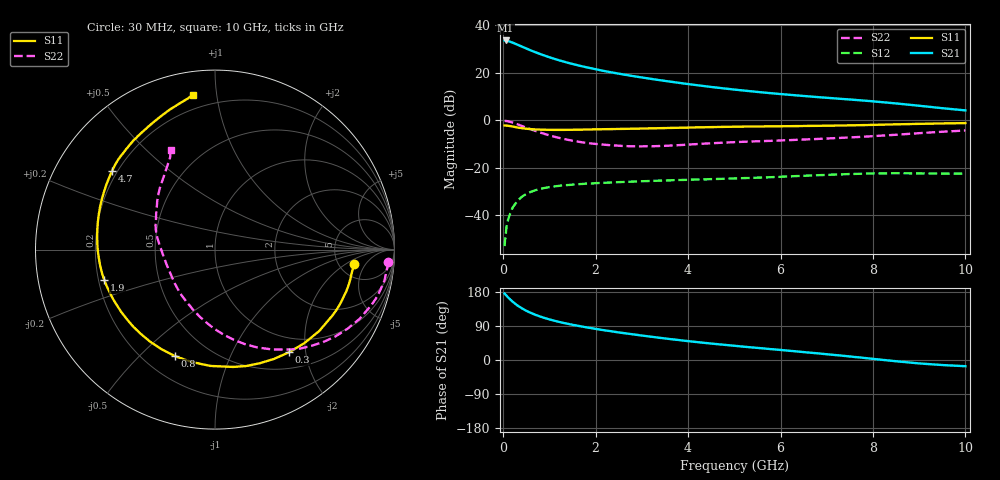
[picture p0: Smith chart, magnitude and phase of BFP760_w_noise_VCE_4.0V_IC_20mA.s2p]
! Infineon Technologies  Discrete & RF Semiconductors
! BFP760
! VCE =  4.0 V,  IC =  20 mA
! Common Emitter S-Parameters:  Nov 2012
# GHz  S  MA  R  50
!  f  S11  S21  S12  S22
! GHz  MAG  ANG  MAG  ANG  MAG  ANG  MAG  ANG
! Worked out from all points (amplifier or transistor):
!   99 points, 30 MHz to 10 GHz, reference 50 ohm
!   highest |S21| = 33.7 dB at 50 MHz (marker M1)
!   |S21| within 3 dB of that: start of sweep to 451.2 MHz
!   unconditionally stable (mu >= 1): 4.666 GHz to end of sweep
!   at 350 MHz: K = 0.23, MSG = 32.4 dB, |S12| = -33.2 dB
!   at 3.5 GHz: K = 0.86, MSG = 21.0 dB, |S12| = -25.4 dB
!   at 10 GHz: K = 1.09, MAG = 11.5 dB, |S12| = -22.6 dB
!   lowest NFmin = 0.63 dB at 900 MHz
!   S11 on the Smith chart (normalised r, x): 30 MHz: 6.83, -2.75; 300 MHz: 0.75, -1.70; 800 MHz: 0.32, -0.64; 1.9 GHz: 0.22, -0.13; 4.7 GHz: 0.18, +0.33; 10 GHz: 0.12, +0.86
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0.03  0.7766 -5.9  48.03 175.4  0.0022 72.4  0.9669 -4.0
0.05  0.7724 -9.8  48.22 172.3  0.0034 74.7  0.964 -6.5
0.15  0.7508 -29.1  45.31 159.9  0.0107 72.4  0.9242 -19.6
0.2  0.7369 -38.0  43.42 154.4  0.0141 68.6  0.8938 -25.5
0.25  0.7207 -46.3  41.59 149.3  0.0167 65.4  0.8597 -30.9
0.3  0.7052 -54.2  39.63 144.6  0.0193 62.3  0.8265 -35.9
0.4  0.6803 -68.7  35.96 136.6  0.0241 57.2  0.7584 -45.0
0.5  0.6615 -81.2  32.6 129.9  0.0277 52.3  0.6969 -53.0
0.6  0.6487 -92.3  29.69 124.1  0.0309 48.6  0.6421 -60.1
0.8  0.6341 -110.7  24.94 114.6  0.0356 42.1  0.5506 -72.7
1  0.6276 -125.1  21.31 107.1  0.0388 37.8  0.4794 -83.7
1.2  0.6259 -136.7  18.5 100.8  0.0412 34.2  0.4261 -93.3
1.4  0.6272 -146.3  16.3 95.4  0.0429 31.8  0.3861 -102.1
1.7  0.6334 -158.1  13.79 88.4  0.0452 29.1  0.3426 -114.1
1.9  0.6393 -164.6  12.49 84.2  0.0463 27.8  0.3232 -121.9
2.6  0.6565 177.0  9.236 71.1  0.0498 24.7  0.286 -145.7
3.4  0.6801 161.1  6.979 58.3  0.0531 22.8  0.2861 -169.3
4.7  0.7212 142.7  4.782 41.0  0.0579 21.2  0.334 166.2
5.1  0.7318 138.9  4.333 36.4  0.0596 20.9  0.348 161.4
6.7  0.7599 126.3  3.135 18.7  0.0684 18.7  0.3988 144.7
8.5  0.8189 108.1  2.263 -3.3  0.0762 10.0  0.4937 125.6
10  0.8697 98.2  1.612 -16.4  0.0744 6.3  0.6069 114.1
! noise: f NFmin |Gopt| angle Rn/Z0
0.9  0.63  0.08  43  0.09
1.8  0.67  0.06  168  0.08
2.4  0.72  0.08  -178  0.08
3.5  0.83  0.12  -153  0.09
5.5  1.06  0.26  -120  0.11
8  1.37  0.38  -84  0.32
